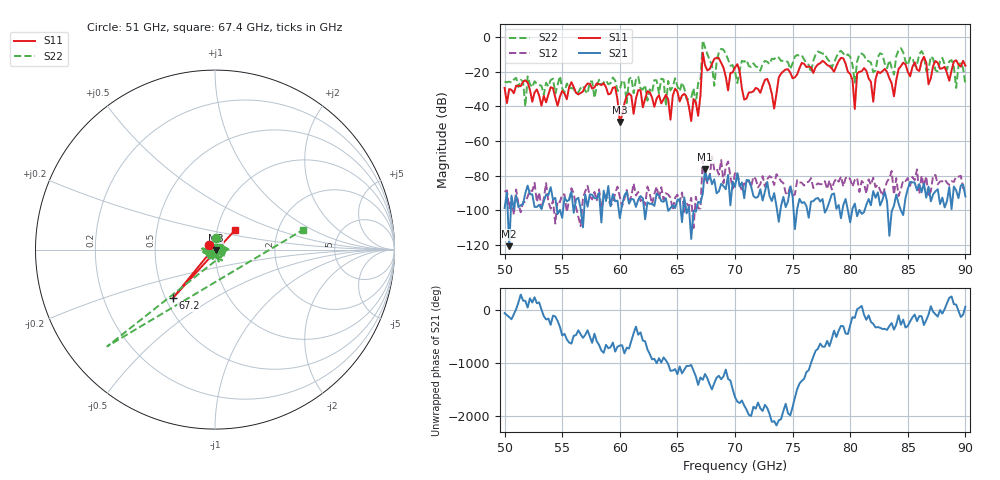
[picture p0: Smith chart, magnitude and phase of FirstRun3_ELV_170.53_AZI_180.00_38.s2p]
! 11/24/2026 3:43:46 PM
! C:\ANRITSUVNA\TEMP\TEMP.S2P
! CHANNEL.1
! TR.MEASUREMENT
! RAW.DATA
# HZ S RI R 50.0
! FREQ.HZ  S11RE  S11IM  S21RE  S21IM  S12RE  S12IM  S22RE  S22IM
!; PortSelection: Port_12
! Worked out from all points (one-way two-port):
!   201 points, 50 GHz to 90 GHz, reference 50 ohm
!   highest |S21| = -76.29 dB at 67.4 GHz (marker M1); lowest = -120.7 dB at 50.4 GHz (marker M2)
!   lowest |S11| = -48.9 dB at 60 GHz (marker M3), VSWR 1.01, Z = 50.3 - j0.164 ohm
!   |S11| at or under -10 dB: start of sweep to 67.19 GHz; 67.23 GHz to end of sweep
!   |S22| runs from -40.0 to -1.9 dB; largest |S21 - S12| = 0.00039
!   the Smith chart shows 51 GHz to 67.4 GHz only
!   S11 on the Smith chart (normalised r, x): 51 GHz: 0.94, +0.05; 67.2 GHz: 0.54, -0.34; 67.4 GHz: 1.22, +0.27
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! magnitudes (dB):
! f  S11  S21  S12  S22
! 50 GHz  -29.3  -98.7  -89.3  -25.6
! 50.4 GHz  -29.9  -120.7  -98.9  -25.7
! 51 GHz  -28.0  -91.5  -88.0  -23.4
! 51.8 GHz  -24.9  -90.1  -95.2  -40.0
! 56.8 GHz  -31.4  -109.8  -92.8  -28.1
! 59.6 GHz  -28.8  -94.8  -90.0  -25.0
! 60 GHz  -48.9  -104.6  -92.2  -30.6
! 63.4 GHz  -33.4  -91.4  -93.3  -32.6
! 66.8 GHz  -45.4  -95.1  -98.8  -26.5
! 67.2 GHz  -8.9  -90.5  -71.0  -1.9
! 67.4 GHz  -16.1  -76.3  -80.6  -5.9
! 68.2 GHz  -12.5  -82.1  -76.4  -28.1
! 68.8 GHz  -14.8  -84.7  -70.9  -6.7
! 70 GHz  -17.4  -86.5  -78.0  -19.9
! 73.4 GHz  -41.2  -90.0  -85.4  -12.6
! 74.2 GHz  -19.7  -92.2  -84.3  -13.5
! 76.8 GHz  -20.6  -94.7  -87.1  -13.6
! 79.4 GHz  -12.2  -97.0  -86.2  -9.4
! 80.4 GHz  -41.4  -96.1  -82.5  -26.2
! 80.6 GHz  -21.0  -103.4  -81.3  -14.0
! 83.4 GHz  -23.7  -114.7  -81.5  -13.3
! 90 GHz  -16.4  -92.0  -86.7  -27.4
